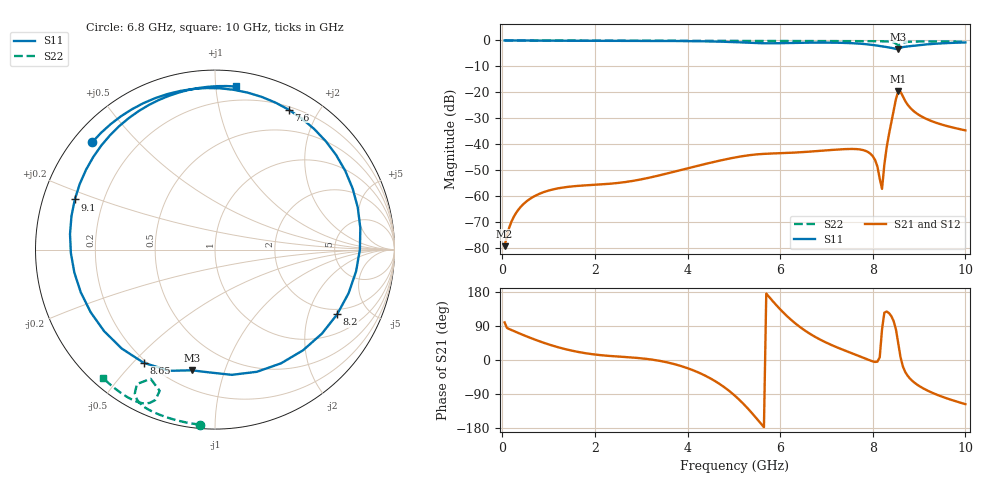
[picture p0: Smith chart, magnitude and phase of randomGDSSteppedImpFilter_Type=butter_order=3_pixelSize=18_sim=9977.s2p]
! freq	dB(S11)	phase(S11)	dB(S12)	phase(S12)
!  dB(S21)	phase(S21)	dB(S22)	phase(S22)
!S-par simulation data
#  GHz  S  DB  R 50
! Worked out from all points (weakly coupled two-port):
!   200 points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, 50 MHz to 10 GHz, reference 50 ohm
!   highest |S21| = -19.53 dB at 8.55 GHz (marker M1); lowest = -79.2 dB at 50 MHz (marker M2)
!   lowest |S11| = -3.3 dB at 8.55 GHz (marker M3), VSWR 5.34, Z = 15.4 - j39 ohm
!   |S11| at or under -10 dB: nowhere
!   |S22| runs from -1.9 to 0.0 dB; largest |S21 - S12| = 0
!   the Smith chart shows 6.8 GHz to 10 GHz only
!   S11 on the Smith chart (normalised r, x): 6.8 GHz: 0.05, +0.37; 7.6 GHz: 0.23, +1.63; 8.2 GHz: 1.75, -3.11; 8.65 GHz: 0.19, -0.54; 9.1 GHz: 0.10, +0.17; 10 GHz: 0.10, +1.13
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0.05  -0.00 -4.7  -79.23 99.2  -79.23 99.2  -0.00 -0.8
0.3  -0.04 -27.9  -66.36 73.7  -66.36 73.7  -0.01 -4.6
0.85  -0.09 -74.5  -58.70 47.3  -58.70 47.3  -0.02 -12.9
1.75  -0.12 -133.5  -55.85 18.8  -55.85 18.8  -0.03 -26.3
2.55  -0.14 -174.0  -54.78 8.7  -54.78 8.7  -0.05 -38.0
3.4  -0.18 145.7  -51.92 -2.3  -51.92 -2.3  -0.07 -50.1
4.4  -0.34 86.0  -47.49 -42.5  -47.49 -42.5  -0.09 -63.9
5.05  -0.67 20.9  -44.98 -97.2  -44.98 -97.2  -0.11 -72.6
5.4  -0.96 -31.2  -44.05 -141.3  -44.05 -141.3  -0.12 -77.1
5.75  -1.10 -90.6  -43.59 168.1  -43.59 168.1  -0.14 -81.7
6.2  -0.98 -157.1  -43.29 110.0  -43.29 110.0  -0.16 -87.4
6.7  -0.84 148.4  -42.74 65.0  -42.74 65.0  -0.18 -93.7
6.8  -0.83 138.9  -42.60 58.0  -42.60 58.0  -0.19 -94.9
7.6  -1.10 62.2  -41.80 15.4  -41.80 15.4  -0.24 -104.9
8  -1.74 8.5  -44.59 -3.7  -44.59 -3.7  -0.28 -110.1
8.2  -2.27 -27.9  -57.16 81.0  -57.16 81.0  -0.32 -113.2
8.35  -2.70 -59.8  -36.09 123.8  -36.09 123.8  -0.43 -116.2
8.55  -3.29 -100.8  -19.53 44.8  -19.53 44.8  -1.89 -116.5
8.65  -2.55 -122.3  -21.57 -16.9  -21.57 -16.9  -0.91 -111.6
9.1  -1.62 160.3  -29.72 -75.6  -29.72 -75.6  -0.39 -120.2
9.5  -1.10 118.7  -32.45 -97.0  -32.45 -97.0  -0.41 -125.3
10  -0.76 82.8  -34.63 -116.5  -34.63 -116.5  -0.46 -131.3
